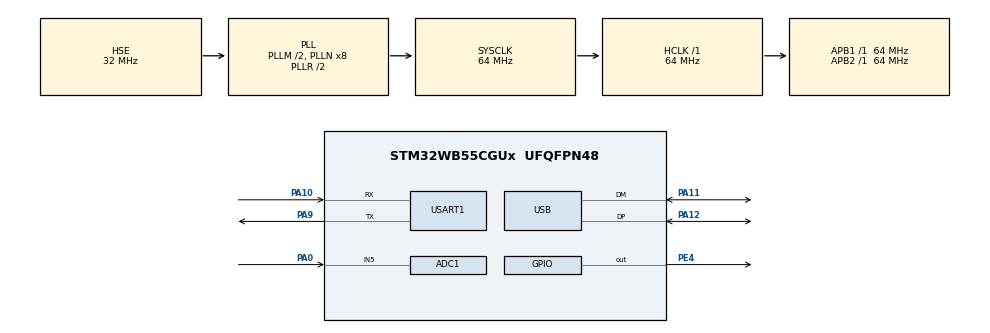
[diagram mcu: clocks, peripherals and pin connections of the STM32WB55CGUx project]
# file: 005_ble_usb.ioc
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ADC1.Channel-0\#ChannelRegularConversion=ADC_CHANNEL_5
ADC1.ContinuousConvMode=ENABLE
ADC1.DMAContinuousRequests=ENABLE
ADC1.NbrOfConversionFlag=1
ADC1.OffsetNumber-0\#ChannelRegularConversion=ADC_OFFSET_NONE
ADC1.Rank-0\#ChannelRegularConversion=1
ADC1.SamplingTime-0\#ChannelRegularConversion=ADC_SAMPLETIME_2CYCLES_5
ADC1.master=1
Dma.ADC1.2.Direction=DMA_PERIPH_TO_MEMORY
Dma.ADC1.2.EventEnable=DISABLE
Dma.ADC1.2.Instance=DMA1_Channel3
Dma.ADC1.2.MemDataAlignment=DMA_MDATAALIGN_HALFWORD
Dma.ADC1.2.MemInc=DMA_MINC_ENABLE
Dma.ADC1.2.Mode=DMA_CIRCULAR
Dma.ADC1.2.PeriphDataAlignment=DMA_PDATAALIGN_HALFWORD
Dma.ADC1.2.PeriphInc=DMA_PINC_DISABLE
Dma.ADC1.2.Polarity=HAL_DMAMUX_REQ_GEN_RISING
Dma.ADC1.2.Priority=DMA_PRIORITY_LOW
Dma.ADC1.2.RequestNumber=1
Dma.ADC1.2.SignalID=NONE
Dma.ADC1.2.SyncEnable=DISABLE
Dma.ADC1.2.SyncPolarity=HAL_DMAMUX_SYNC_NO_EVENT
Dma.ADC1.2.SyncRequestNumber=1
Dma.ADC1.2.SyncSignalID=NONE
Dma.Request0=USART1_RX
Dma.Request1=USART1_TX
Dma.Request2=ADC1
Dma.USART1_RX.0.Direction=DMA_PERIPH_TO_MEMORY
Dma.USART1_RX.0.EventEnable=DISABLE
Dma.USART1_RX.0.Instance=DMA1_Channel1
Dma.USART1_RX.0.MemDataAlignment=DMA_MDATAALIGN_BYTE
Dma.USART1_RX.0.MemInc=DMA_MINC_ENABLE
Dma.USART1_RX.0.Mode=DMA_NORMAL
Dma.USART1_RX.0.PeriphDataAlignment=DMA_PDATAALIGN_BYTE
Dma.USART1_RX.0.PeriphInc=DMA_PINC_DISABLE
Dma.USART1_RX.0.Polarity=HAL_DMAMUX_REQ_GEN_RISING
Dma.USART1_RX.0.Priority=DMA_PRIORITY_LOW
Dma.USART1_RX.0.RequestNumber=1
Dma.USART1_RX.0.SignalID=NONE
Dma.USART1_RX.0.SyncEnable=DISABLE
Dma.USART1_RX.0.SyncPolarity=HAL_DMAMUX_SYNC_NO_EVENT
Dma.USART1_RX.0.SyncRequestNumber=1
Dma.USART1_RX.0.SyncSignalID=NONE
Dma.USART1_TX.1.Direction=DMA_MEMORY_TO_PERIPH
Dma.USART1_TX.1.EventEnable=DISABLE
Dma.USART1_TX.1.Instance=DMA1_Channel2
Dma.USART1_TX.1.MemDataAlignment=DMA_MDATAALIGN_BYTE
Dma.USART1_TX.1.MemInc=DMA_MINC_ENABLE
Dma.USART1_TX.1.Mode=DMA_NORMAL
Dma.USART1_TX.1.PeriphDataAlignment=DMA_PDATAALIGN_BYTE
Dma.USART1_TX.1.PeriphInc=DMA_PINC_DISABLE
Dma.USART1_TX.1.Polarity=HAL_DMAMUX_REQ_GEN_RISING
Dma.USART1_TX.1.Priority=DMA_PRIORITY_LOW
Dma.USART1_TX.1.RequestNumber=1
Dma.USART1_TX.1.SignalID=NONE
Dma.USART1_TX.1.SyncEnable=DISABLE
Dma.USART1_TX.1.SyncPolarity=HAL_DMAMUX_SYNC_NO_EVENT
Dma.USART1_TX.1.SyncRequestNumber=1
Dma.USART1_TX.1.SyncSignalID=NONE
Mcu.Family=STM32WB
Mcu.Name=STM32WB55CGUx
Mcu.Package=UFQFPN48
NVIC.DMA1_Channel1_IRQn=true\:2\:0\:true\:false\:true\:false\:true\:true
NVIC.DMA1_Channel2_IRQn=true\:2\:0\:true\:false\:true\:false\:true\:true
NVIC.DMA1_Channel3_IRQn=true\:0\:0\:false\:false\:true\:false\:true\:true
NVIC.HSEM_IRQn=true\:2\:0\:true\:false\:true\:false\:true\:true
NVIC.IPCC_C1_RX_IRQn=true\:2\:0\:true\:false\:true\:true\:true\:true
NVIC.IPCC_C1_TX_IRQn=true\:2\:0\:true\:false\:true\:true\:true\:true
NVIC.PriorityGroup=NVIC_PRIORITYGROUP_4
NVIC.RTC_WKUP_IRQn=true\:2\:0\:true\:false\:true\:true\:true\:true
NVIC.USART1_IRQn=true\:2\:0\:true\:false\:true\:true\:true\:true
NVIC.USB_LP_IRQn=true\:1\:0\:true\:false\:true\:false\:true\:true
OSC_IN.Mode=HSE-External-Oscillator
OSC_IN.Signal=RCC_OSC_IN
OSC_OUT.Mode=HSE-External-Oscillator
OSC_OUT.Signal=RCC_OSC_OUT
PA0.Signal=ADCx_IN5
PA10.Mode=Asynchronous
PA10.Signal=USART1_RX
PA11.Mode=Device
PA11.Signal=USB_DM
PA12.Mode=Device
PA12.Signal=USB_DP
PA13.Mode=Serial_Wire
PA13.Signal=SYS_JTMS-SWDIO
PA14.Mode=Serial_Wire
PA14.Signal=SYS_JTCK-SWCLK
PA9.Mode=Asynchronous
PA9.Signal=USART1_TX
PC14-OSC32_IN.Mode=LSE-External-Oscillator
PC14-OSC32_IN.Signal=RCC_OSC32_IN
PC15-OSC32_OUT.Mode=LSE-External-Oscillator
PC15-OSC32_OUT.Signal=RCC_OSC32_OUT
PE4.Signal=GPIO_Output
ProjectManager.HeapSize=0x200
ProjectManager.StackSize=0x400
ProjectManager.TargetToolchain=STM32CubeIDE
RCC.ADCFreq_Value=64000000
RCC.AHB2CLKDivider=RCC_SYSCLK_DIV2
RCC.AHBFreq_Value=64000000
RCC.APB1Freq_Value=64000000
RCC.APB1TimFreq_Value=64000000
RCC.APB2Freq_Value=64000000
RCC.APB2TimFreq_Value=64000000
RCC.APB3Freq_Value=16000000
RCC.CK48CLockSelection=RCC_USBCLKSOURCE_HSI48
RCC.CortexFreq_Value=64000000
RCC.HCLKFreq_Value=64000000
RCC.HSE_VALUE=32000000
RCC.HSI48_VALUE=48000000
RCC.HSI_VALUE=16000000
RCC.PLLM=RCC_PLLM_DIV2
RCC.PLLSourceVirtual=RCC_PLLSOURCE_HSE
RCC.RFWKPClockSelection=RCC_RFWKPCLKSOURCE_LSE
RCC.RTCClockSelection=RCC_RTCCLKSOURCE_LSE
RCC.SMPSCLockSelection=RCC_SMPSCLKSOURCE_HSE
RCC.SMPSDivider=4
RCC.SYSCLKFreq_VALUE=64000000
RCC.SYSCLKSource=RCC_SYSCLKSOURCE_PLLCLK
RCC.USBFreq_Value=48000000
RCC.VCOOutputFreq_Value=128000000
RF1.Mode=RF1_Activate
RF1.Signal=RF_RF1
RTC.Month=RTC_MONTH_MARCH
RTC.WeekDay=RTC_WEEKDAY_FRIDAY
RTC.Year=25
SH.ADCx_IN5.0=ADC1_IN5,IN5-Single-Ended
STM32_WPAN.CFG_DEBUG_APP_TRACE=1
STM32_WPAN.CFG_DEBUG_BLE_TRACE=1
STM32_WPAN.CFG_DEBUG_TRACE_FULL=1
STM32_WPAN.CFG_DEBUG_TRACE_UART=hw_uart1
STM32_WPAN.CFG_HW_USART1_DMA_TX_SUPPORTED=0
STM32_WPAN.CFG_HW_USART1_ENABLED=1
STM32_WPAN.CFG_LSCLK_LSE=0
STM32_WPAN.CFG_TX_POWER=(0x19) /* 0dBm */
STM32_WPAN.CFG_USE_SMPS=1
STM32_WPAN.LOCAL_NAME=WeAct
STM32_WPAN.LOCAL_NAME_FORMATTED=,'W','e','A','c','t'
USART1.VirtualMode-Asynchronous=VM_ASYNC
USB_DEVICE.CLASS_NAME_FS=CDC
USB_DEVICE.VirtualMode=Cdc
USB_DEVICE.VirtualModeFS=Cdc_FS
VP_HSEM_VS_HSEM.Mode=HSEM_Activate
VP_IPCC_VS_IPCC.Mode=IPCC_Activate
VP_MEMORYMAP_VS_MEMORYMAP.Mode=CurAppReg
VP_RTC_VS_RTC_Activate.Mode=RTC_Enabled
VP_RTC_VS_RTC_Calendar.Mode=RTC_Calendar
VP_RTC_VS_RTC_WakeUp_intern.Mode=WakeUp
VP_SEQUENCER_VS_SEQUENCER.Mode=SEQUENCER_Enabled
VP_STM32_WPAN_VS_BLE_HOST.Mode=STM32_WPAN_Enabled
VP_TINY_LPM_VS_TINY_LPM.Mode=TINY_LPM_Enabled
VP_USB_DEVICE_VS_USB_DEVICE_CDC_FS.Mode=CDC_FS
board=custom

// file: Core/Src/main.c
/* USER CODE BEGIN Header */
/**
  ******************************************************************************
  * @file           : main.c
  * @brief          : Main program body
  ******************************************************************************
  * @attention
  *
  * Copyright (c) 2025 STMicroelectronics.
  * All rights reserved.
  *
  * This software is licensed under terms that can be found in the LICENSE file
  * in the root directory of this software component.
  * If no LICENSE file comes with this software, it is provided AS-IS.
  *
  ******************************************************************************
  */
/* USER CODE END Header */
#include "main.h"
#include "usb_device.h"

/* USER CODE BEGIN Includes */
#include "usbd_cdc_if.h"
#include "ble.h"
#include <stdio.h>
/* USER CODE END Includes */

ADC_HandleTypeDef hadc1;
DMA_HandleTypeDef hdma_adc1;

IPCC_HandleTypeDef hipcc;

RTC_HandleTypeDef hrtc;

UART_HandleTypeDef huart1;
DMA_HandleTypeDef hdma_usart1_rx;
DMA_HandleTypeDef hdma_usart1_tx;

void SystemClock_Config(void);
void PeriphCommonClock_Config(void);
static void MX_GPIO_Init(void);
static void MX_DMA_Init(void);
static void MX_ADC1_Init(void);
static void MX_IPCC_Init(void);
static void MX_RTC_Init(void);
static void MX_USART1_UART_Init(void);
static void MX_RF_Init(void);

/* USER CODE BEGIN 0 */
uint16_t adc_inp;
RTC_DateTypeDef sdatestructureget;
RTC_TimeTypeDef stimestructureget;
/* USER CODE END 0 */

int main(void)
{

  /* USER CODE BEGIN 1 */
	uint32_t tick,tick_now = 0;
	tick = 0;
  /* USER CODE END 1 */

  /* MCU Configuration--------------------------------------------------------*/

  /* Reset of all peripherals, Initializes the Flash interface and the Systick. */
  HAL_Init();
  /* Config code for STM32_WPAN (HSE Tuning must be done before system clock configuration) */
  MX_APPE_Config();

  /* Configure the system clock */
  SystemClock_Config();

  /* Configure the peripherals common clocks */
  PeriphCommonClock_Config();

  /* IPCC initialisation */
  MX_IPCC_Init();

  /* Initialize all configured peripherals */
  MX_GPIO_Init();
  MX_DMA_Init();
  MX_ADC1_Init();
  MX_RTC_Init();
  MX_USART1_UART_Init();
  MX_USB_Device_Init();
  MX_RF_Init();
  /* USER CODE BEGIN 2 */
  LL_HSEM_1StepLock( HSEM, 5 );

  HAL_ADCEx_Calibration_Start(&hadc1,ADC_SINGLE_ENDED);
  HAL_ADC_Start_DMA(&hadc1,(uint32_t *)&adc_inp,1);

  extern uint8_t led_blink_en;
  extern uint8_t Notification_Status;
  /* USER CODE END 2 */

  /* Init code for STM32_WPAN */
  MX_APPE_Init();

  /* Infinite loop */
  while (1)
  {
    MX_APPE_Process();

    /* USER CODE BEGIN 3 */
    tick_now = HAL_GetTick();
    if(tick_now >= tick)
    {
    	tick = tick_now + 500;

    	uint8_t text[40];
    	static uint8_t Seconds_o;
    	int text_lenth;

    	/* Get the RTC current Time */
    	HAL_RTC_GetTime(&hrtc, &stimestructureget, RTC_FORMAT_BIN);
    	/* Get the RTC current Date */
    	HAL_RTC_GetDate(&hrtc, &sdatestructureget, RTC_FORMAT_BIN);

    	if(Seconds_o != stimestructureget.Seconds)
    	{
    		Seconds_o = stimestructureget.Seconds;

    		if(led_blink_en)
    			HAL_GPIO_WritePin(GPIOE,GPIO_PIN_4,GPIO_PIN_SET);

    		text_lenth = snprintf((char *) text, sizeof(text),
    		    "20%02d.%02d.%02d %02d:%02d %02d ,%d\r\n",
    		    sdatestructureget.Year, sdatestructureget.Month, sdatestructureget.Date,
    		    stimestructureget.Hours, stimestructureget.Minutes, stimestructureget.Seconds,
    		    adc_inp);

    		CDC_Transmit_FS(text,text_lenth);

    		if(Notification_Status)
    			P2PS_STM_App_Update_Char(P2P_NOTIFY_CHAR_UUID, text);
    	}
    	else
    	{
    		HAL_GPIO_WritePin(GPIOE,GPIO_PIN_4,GPIO_PIN_RESET);
    	}
    }
  }
  /* USER CODE END 3 */
}

void SystemClock_Config(void)
{
  RCC_OscInitTypeDef RCC_OscInitStruct = {0};
  RCC_ClkInitTypeDef RCC_ClkInitStruct = {0};

  /** Configure LSE Drive Capability
  */
  HAL_PWR_EnableBkUpAccess();
  __HAL_RCC_LSEDRIVE_CONFIG(RCC_LSEDRIVE_MEDIUMHIGH);

  /** Configure the main internal regulator output voltage
  */
  __HAL_PWR_VOLTAGESCALING_CONFIG(PWR_REGULATOR_VOLTAGE_SCALE1);

  /** Initializes the RCC Oscillators according to the specified parameters
  * in the RCC_OscInitTypeDef structure.
  */
  RCC_OscInitStruct.OscillatorType = RCC_OSCILLATORTYPE_HSI48|RCC_OSCILLATORTYPE_HSI
                              |RCC_OSCILLATORTYPE_HSE|RCC_OSCILLATORTYPE_LSE;
  RCC_OscInitStruct.HSEState = RCC_HSE_ON;
  RCC_OscInitStruct.LSEState = RCC_LSE_ON;
  RCC_OscInitStruct.HSIState = RCC_HSI_ON;
  RCC_OscInitStruct.HSI48State = RCC_HSI48_ON;
  RCC_OscInitStruct.HSICalibrationValue = RCC_HSICALIBRATION_DEFAULT;
  RCC_OscInitStruct.PLL.PLLState = RCC_PLL_ON;
  RCC_OscInitStruct.PLL.PLLSource = RCC_PLLSOURCE_HSE;
  RCC_OscInitStruct.PLL.PLLM = RCC_PLLM_DIV2;
  RCC_OscInitStruct.PLL.PLLN = 8;
  RCC_OscInitStruct.PLL.PLLP = RCC_PLLP_DIV2;
  RCC_OscInitStruct.PLL.PLLR = RCC_PLLR_DIV2;
  RCC_OscInitStruct.PLL.PLLQ = RCC_PLLQ_DIV2;
  if (HAL_RCC_OscConfig(&RCC_OscInitStruct) != HAL_OK)
  {
    Error_Handler();
  }

  /** Configure the SYSCLKSource, HCLK, PCLK1 and PCLK2 clocks dividers
  */
  RCC_ClkInitStruct.ClockType = RCC_CLOCKTYPE_HCLK4|RCC_CLOCKTYPE_HCLK2
                              |RCC_CLOCKTYPE_HCLK|RCC_CLOCKTYPE_SYSCLK
                              |RCC_CLOCKTYPE_PCLK1|RCC_CLOCKTYPE_PCLK2;
  RCC_ClkInitStruct.SYSCLKSource = RCC_SYSCLKSOURCE_PLLCLK;
  RCC_ClkInitStruct.AHBCLKDivider = RCC_SYSCLK_DIV1;
  RCC_ClkInitStruct.APB1CLKDivider = RCC_HCLK_DIV1;
  RCC_ClkInitStruct.APB2CLKDivider = RCC_HCLK_DIV1;
  RCC_ClkInitStruct.AHBCLK2Divider = RCC_SYSCLK_DIV2;
  RCC_ClkInitStruct.AHBCLK4Divider = RCC_SYSCLK_DIV1;

  if (HAL_RCC_ClockConfig(&RCC_ClkInitStruct, FLASH_LATENCY_3) != HAL_OK)
  {
    Error_Handler();
  }
}

void PeriphCommonClock_Config(void)
{
  RCC_PeriphCLKInitTypeDef PeriphClkInitStruct = {0};

  /** Initializes the peripherals clock
  */
  PeriphClkInitStruct.PeriphClockSelection = RCC_PERIPHCLK_SMPS|RCC_PERIPHCLK_RFWAKEUP;
  PeriphClkInitStruct.RFWakeUpClockSelection = RCC_RFWKPCLKSOURCE_LSE;
  PeriphClkInitStruct.SmpsClockSelection = RCC_SMPSCLKSOURCE_HSE;
  PeriphClkInitStruct.SmpsDivSelection = RCC_SMPSCLKDIV_RANGE1;

  if (HAL_RCCEx_PeriphCLKConfig(&PeriphClkInitStruct) != HAL_OK)
  {
    Error_Handler();
  }
}

static void MX_ADC1_Init(void)
{

  ADC_ChannelConfTypeDef sConfig = {0};

  /** Common config
  */
  hadc1.Instance = ADC1;
  hadc1.Init.ClockPrescaler = ADC_CLOCK_ASYNC_DIV1;
  hadc1.Init.Resolution = ADC_RESOLUTION_12B;
  hadc1.Init.DataAlign = ADC_DATAALIGN_RIGHT;
  hadc1.Init.ScanConvMode = ADC_SCAN_DISABLE;
  hadc1.Init.EOCSelection = ADC_EOC_SINGLE_CONV;
  hadc1.Init.LowPowerAutoWait = DISABLE;
  hadc1.Init.ContinuousConvMode = ENABLE;
  hadc1.Init.NbrOfConversion = 1;
  hadc1.Init.DiscontinuousConvMode = DISABLE;
  hadc1.Init.ExternalTrigConv = ADC_SOFTWARE_START;
  hadc1.Init.ExternalTrigConvEdge = ADC_EXTERNALTRIGCONVEDGE_NONE;
  hadc1.Init.DMAContinuousRequests = ENABLE;
  hadc1.Init.Overrun = ADC_OVR_DATA_PRESERVED;
  hadc1.Init.OversamplingMode = DISABLE;
  if (HAL_ADC_Init(&hadc1) != HAL_OK)
  {
    Error_Handler();
  }

  /** Configure Regular Channel
  */
  sConfig.Channel = ADC_CHANNEL_5;
  sConfig.Rank = ADC_REGULAR_RANK_1;
  sConfig.SamplingTime = ADC_SAMPLETIME_640CYCLES_5;
  sConfig.SingleDiff = ADC_SINGLE_ENDED;
  sConfig.OffsetNumber = ADC_OFFSET_NONE;
  sConfig.Offset = 0;
  if (HAL_ADC_ConfigChannel(&hadc1, &sConfig) != HAL_OK)
  {
    Error_Handler();
  }

}

static void MX_IPCC_Init(void)
{

  hipcc.Instance = IPCC;
  if (HAL_IPCC_Init(&hipcc) != HAL_OK)
  {
    Error_Handler();
  }

}

static void MX_RF_Init(void)
{

}

static void MX_RTC_Init(void)
{

  RTC_TimeTypeDef sTime = {0};
  RTC_DateTypeDef sDate = {0};

  /** Initialize RTC Only
  */
  hrtc.Instance = RTC;
  hrtc.Init.HourFormat = RTC_HOURFORMAT_24;
  hrtc.Init.AsynchPrediv = CFG_RTC_ASYNCH_PRESCALER;
  hrtc.Init.SynchPrediv = CFG_RTC_SYNCH_PRESCALER;
  hrtc.Init.OutPut = RTC_OUTPUT_DISABLE;
  hrtc.Init.OutPutPolarity = RTC_OUTPUT_POLARITY_HIGH;
  hrtc.Init.OutPutType = RTC_OUTPUT_TYPE_OPENDRAIN;
  hrtc.Init.OutPutRemap = RTC_OUTPUT_REMAP_NONE;
  if (HAL_RTC_Init(&hrtc) != HAL_OK)
  {
    Error_Handler();
  }

  /** Initialize RTC and set the Time and Date
  */
  sTime.Hours = 0x0;
  sTime.Minutes = 0x0;
  sTime.Seconds = 0x0;
  sTime.SubSeconds = 0x0;
  sTime.DayLightSaving = RTC_DAYLIGHTSAVING_NONE;
  sTime.StoreOperation = RTC_STOREOPERATION_RESET;
  if (HAL_RTC_SetTime(&hrtc, &sTime, RTC_FORMAT_BCD) != HAL_OK)
  {
    Error_Handler();
  }
  sDate.WeekDay = RTC_WEEKDAY_FRIDAY;
  sDate.Month = RTC_MONTH_MARCH;
  sDate.Date = 0x1;
  sDate.Year = 0x25;

  if (HAL_RTC_SetDate(&hrtc, &sDate, RTC_FORMAT_BCD) != HAL_OK)
  {
    Error_Handler();
  }

  /** Enable the WakeUp
  */
  if (HAL_RTCEx_SetWakeUpTimer_IT(&hrtc, 0, RTC_WAKEUPCLOCK_RTCCLK_DIV16) != HAL_OK)
  {
    Error_Handler();
  }

}

static void MX_USART1_UART_Init(void)
{

  huart1.Instance = USART1;
  huart1.Init.BaudRate = 115200;
  huart1.Init.WordLength = UART_WORDLENGTH_8B;
  huart1.Init.StopBits = UART_STOPBITS_1;
  huart1.Init.Parity = UART_PARITY_NONE;
  huart1.Init.Mode = UART_MODE_TX_RX;
  huart1.Init.HwFlowCtl = UART_HWCONTROL_NONE;
  huart1.Init.OverSampling = UART_OVERSAMPLING_8;
  huart1.Init.OneBitSampling = UART_ONE_BIT_SAMPLE_DISABLE;
  huart1.Init.ClockPrescaler = UART_PRESCALER_DIV1;
  huart1.AdvancedInit.AdvFeatureInit = UART_ADVFEATURE_NO_INIT;
  if (HAL_UART_Init(&huart1) != HAL_OK)
  {
    Error_Handler();
  }
  if (HAL_UARTEx_SetTxFifoThreshold(&huart1, UART_TXFIFO_THRESHOLD_1_8) != HAL_OK)
  {
    Error_Handler();
  }
  if (HAL_UARTEx_SetRxFifoThreshold(&huart1, UART_RXFIFO_THRESHOLD_1_8) != HAL_OK)
  {
    Error_Handler();
  }
  if (HAL_UARTEx_DisableFifoMode(&huart1) != HAL_OK)
  {
    Error_Handler();
  }

}

static void MX_DMA_Init(void)
{

  /* DMA controller clock enable */
  __HAL_RCC_DMAMUX1_CLK_ENABLE();
  __HAL_RCC_DMA1_CLK_ENABLE();

  /* DMA interrupt init */
  /* DMA1_Channel1_IRQn interrupt configuration */
  HAL_NVIC_SetPriority(DMA1_Channel1_IRQn, 2, 0);
  HAL_NVIC_EnableIRQ(DMA1_Channel1_IRQn);
  /* DMA1_Channel2_IRQn interrupt configuration */
  HAL_NVIC_SetPriority(DMA1_Channel2_IRQn, 2, 0);
  HAL_NVIC_EnableIRQ(DMA1_Channel2_IRQn);
  /* DMA1_Channel3_IRQn interrupt configuration */
  HAL_NVIC_SetPriority(DMA1_Channel3_IRQn, 0, 0);
  HAL_NVIC_EnableIRQ(DMA1_Channel3_IRQn);

}

static void MX_GPIO_Init(void)
{
  GPIO_InitTypeDef GPIO_InitStruct = {0};

  /* GPIO Ports Clock Enable */
  __HAL_RCC_GPIOC_CLK_ENABLE();
  __HAL_RCC_GPIOA_CLK_ENABLE();
  __HAL_RCC_GPIOE_CLK_ENABLE();

  /*Configure GPIO pin Output Level */
  HAL_GPIO_WritePin(GPIOE, GPIO_PIN_4, GPIO_PIN_RESET);

  /*Configure GPIO pin : PE4 */
  GPIO_InitStruct.Pin = GPIO_PIN_4;
  GPIO_InitStruct.Mode = GPIO_MODE_OUTPUT_PP;
  GPIO_InitStruct.Pull = GPIO_NOPULL;
  GPIO_InitStruct.Speed = GPIO_SPEED_FREQ_LOW;
  HAL_GPIO_Init(GPIOE, &GPIO_InitStruct);

}

void Error_Handler(void)
{
  __disable_irq();
  while (1)
  {
  }
}
